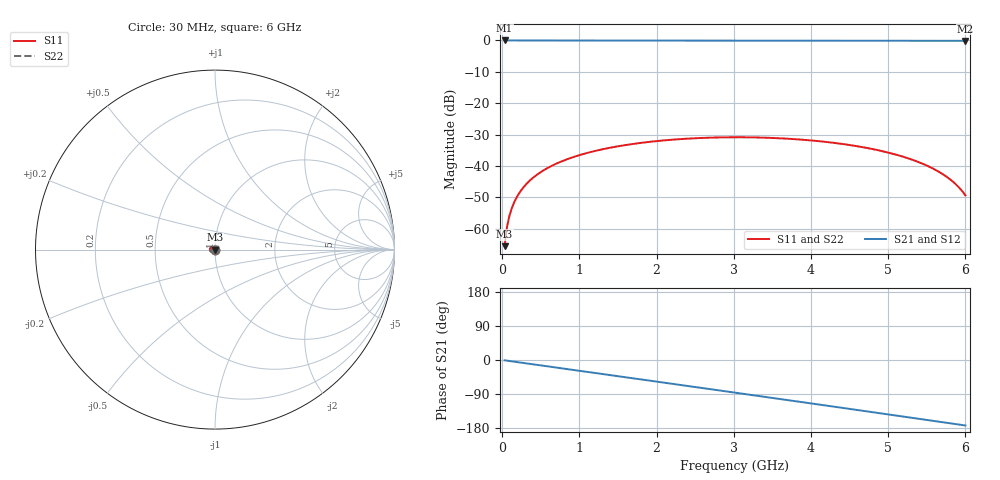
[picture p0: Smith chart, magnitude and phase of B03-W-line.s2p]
! yapnr Order 0 O0-W: O0-W B03 W dL14 (line, family W)
! stackup OSHPARK-4L-FR408HR, nominal parameters; geometry of the OSHPARK-4L-FR408HR design
! model: 2D quasi-static RLGC (Djordjevic-Sarkar, Huray roughness, Wheeler loss); generated by python -m yapnr.rf.coupons expected --stackup OSHPARK-4L-FR408HR --upload W
! reference planes 10 mm from each end; 50 ohm (from the W line's Zc)
# GHz S DB R 50
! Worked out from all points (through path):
!   200 points, 30 MHz to 6 GHz, reference 50 ohm
!   highest |S21| = 0.00 dB at 30 MHz (marker M1); lowest = -0.1 dB at 6 GHz (marker M2)
!   group delay of S21, straight-line fit = 79.9 ps
!   lowest |S11| = -65.6 dB at 30 MHz (marker M3), VSWR 1.00, Z = 50 - j0.0525 ohm
!   |S11| at or under -10 dB: start of sweep to end of sweep
!   |S22| runs from -65.6 to -30.9 dB; largest |S21 - S12| = 0
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0.03  -65.58 -87.0  -0.00 -0.9  -0.00 -0.9  -65.58 -87.0
0.06  -59.58 -90.9  -0.00 -1.7  -0.00 -1.7  -59.58 -90.9
0.09  -56.12 -93.1  -0.00 -2.6  -0.00 -2.6  -56.12 -93.1
0.12  -53.70 -94.8  -0.00 -3.4  -0.00 -3.4  -53.70 -94.8
0.21  -49.02 -98.6  -0.01 -6.0  -0.01 -6.0  -49.02 -98.6
0.3  -46.08 -101.8  -0.01 -8.6  -0.01 -8.6  -46.08 -101.8
0.42  -43.34 -105.8  -0.01 -12.0  -0.01 -12.0  -43.34 -105.8
0.6  -40.48 -111.5  -0.02 -17.1  -0.02 -17.1  -40.48 -111.5
0.81  -38.14 -117.8  -0.02 -23.1  -0.02 -23.1  -38.14 -117.8
1.05  -36.19 -125.0  -0.03 -29.9  -0.03 -29.9  -36.19 -125.0
1.5  -33.73 -138.2  -0.04 -42.8  -0.04 -42.8  -33.73 -138.2
2.04  -31.98 -153.9  -0.05 -58.2  -0.05 -58.2  -31.98 -153.9
2.55  -31.12 -168.7  -0.06 -72.8  -0.06 -72.8  -31.12 -168.7
3.03  -30.86 177.4  -0.07 -86.6  -0.07 -86.6  -30.86 177.4
3.51  -31.09 163.6  -0.08 -100.4  -0.08 -100.4  -31.09 163.6
4.02  -31.91 148.9  -0.09 -115.1  -0.09 -115.1  -31.91 148.9
4.5  -33.33 135.1  -0.10 -129.0  -0.10 -129.0  -33.33 135.1
5.01  -35.81 120.6  -0.11 -143.8  -0.11 -143.8  -35.81 120.6
5.37  -38.55 110.6  -0.11 -154.4  -0.11 -154.4  -38.55 110.6
5.64  -41.63 103.5  -0.12 -162.3  -0.12 -162.3  -41.63 103.5
5.85  -45.27 98.8  -0.12 -168.4  -0.12 -168.4  -45.27 98.8
6  -49.37 97.0  -0.12 -172.8  -0.12 -172.8  -49.37 97.0
